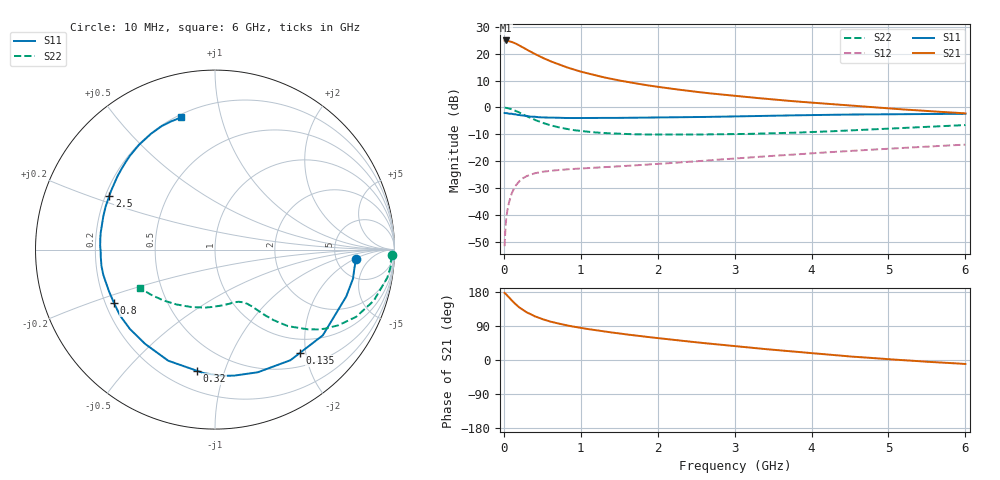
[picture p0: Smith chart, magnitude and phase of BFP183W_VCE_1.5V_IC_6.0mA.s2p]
! Infineon Technologies  Discrete & RF Semiconductors
! BFP183W
! VCE = 1.5 V,  IC =  6.0 mA
! Common Emitter S-Parameters:  Jan 2016
# GHz  S  MA  R  50
!  f  S11  S21  S12  S22
! GHz  MAG  ANG  MAG  ANG  MAG  ANG  MAG  ANG
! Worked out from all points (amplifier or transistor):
!   210 points, 10 MHz to 6 GHz, reference 50 ohm
!   highest |S21| = 25.0 dB at 30 MHz (marker M1)
!   |S21| within 3 dB of that: start of sweep to 273.4 MHz
!   unconditionally stable (mu >= 1): 1.602 GHz to 5.929 GHz
!   at 185 MHz: K = 0.16, MSG = 25.7 dB, |S12| = -28.0 dB
!   at 1.52 GHz: K = 0.97, MSG = 15.9 dB, |S12| = -21.9 dB
!   at 6 GHz: K = 0.99, MSG = 5.8 dB, |S12| = -13.9 dB
!   S11 on the Smith chart (normalised r, x): 10 MHz: 7.75, -2.24; 135 MHz: 0.73, -1.89; 320 MHz: 0.32, -0.81; 800 MHz: 0.24, -0.24; 2.5 GHz: 0.22, +0.23; 6 GHz: 0.22, +0.75
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0.01  0.7873 -4.0  17.62 177.0  0.0026 88.7  0.9883 -1.9
0.03  0.7857 -11.9  17.71 173.2  0.0081 84.3  0.983 -5.6
0.05  0.7765 -19.7  17.47 168.5  0.013 80.0  0.9725 -9.3
0.1  0.7674 -38.5  16.7 157.7  0.0244 70.3  0.9296 -17.8
0.135  0.7452 -50.5  15.89 150.7  0.0314 64.6  0.8868 -23.1
0.15  0.746 -55.7  15.63 147.5  0.0344 62.9  0.8709 -25.5
0.2  0.7238 -70.8  14.32 138.9  0.0419 56.3  0.8055 -31.6
0.26  0.7047 -86.2  12.87 130.6  0.0491 50.0  0.7304 -37.5
0.3  0.6915 -95.1  11.9 125.4  0.0528 46.5  0.6829 -40.6
0.32  0.6824 -98.5  11.49 123.7  0.054 45.1  0.6635 -41.6
0.4  0.6717 -112.8  9.974 115.5  0.0592 40.0  0.5884 -46.4
0.5  0.6539 -126.5  8.469 107.7  0.0633 36.1  0.5188 -49.9
0.6  0.6484 -137.0  7.315 101.6  0.0659 33.2  0.4673 -52.4
0.8  0.6365 -152.1  5.704 92.1  0.0699 31.1  0.4018 -55.6
1.02  0.6355 -163.9  4.568 84.2  0.0731 30.1  0.3614 -58.3
1.48  0.6393 178.6  3.225 70.6  0.0796 31.6  0.3237 -64.2
2.02  0.6491 163.7  2.4 57.4  0.0891 34.5  0.312 -72.3
2.5  0.661 152.9  1.958 46.8  0.0992 36.7  0.3125 -81.0
3.1  0.6839 140.9  1.59 34.6  0.1145 37.9  0.3202 -93.1
4.1  0.7235 124.6  1.199 16.4  0.1426 37.3  0.3519 -116.0
5.1  0.7503 112.4  0.937 0.7  0.1731 34.2  0.4102 -137.7
6  0.7605 104.4  0.776 -10.5  0.2029 30.5  0.4693 -153.0
